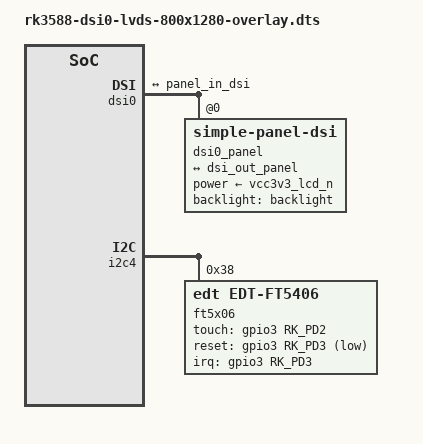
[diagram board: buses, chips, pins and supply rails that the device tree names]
/dts-v1/;
/plugin/;

#include <dt-bindings/gpio/gpio.h>
#include <dt-bindings/pinctrl/rockchip.h>
#include <dt-bindings/display/drm_mipi_dsi.h>
#include <dt-bindings/interrupt-controller/irq.h>

/ {
	fragment@0 {
		target = <&dsi0>;
		__overlay__ {
			status = "okay";
			//rockchip,lane-rate = <1000>;
			dsi0_panel: panel@0 {
				status = "okay";
				compatible = "simple-panel-dsi";
				reg = <0>;
				power-supply = <&vcc3v3_lcd_n>;
				backlight = <&backlight>;
				reset-delay-ms = <10>;
				enable-delay-ms = <35>;
				prepare-delay-ms = <6>;
				unprepare-delay-ms = <0>;
				disable-delay-ms = <20>;
				dsi,flags = <(MIPI_DSI_MODE_VIDEO | MIPI_DSI_MODE_VIDEO_BURST | MIPI_DSI_MODE_LPM | MIPI_DSI_MODE_EOT_PACKET)>;
				dsi,format = <MIPI_DSI_FMT_RGB888>;
				dsi,lanes  = <4>;
				dsi,channel = <0>;
				size,width = <120>;
				size,height = <170>;

                panel-init-sequence = [
                    29 02 06 3C 01 09 00 07 00                      
                    29 02 06 14 01 06 00 00 00                      
                    29 02 06 64 01 0B 00 00 00                      
                    29 02 06 68 01 0B 00 00 00                      
                    29 02 06 6C 01 0B 00 00 00                      
                    29 02 06 70 01 0B 00 00 00                      
                    29 02 06 34 01 1F 00 00 00                      
                    29 02 06 10 02 1F 00 00 00                      
                    29 02 06 04 01 01 00 00 00                      
                    29 02 06 04 02 01 00 00 00                      
                    29 02 06 50 04 20 01 F0 03                      
                    29 02 06 54 04 19 00 5A 00                       //5A
                    29 02 06 58 04 20 03 24 00                      
                    29 02 06 5C 04 0A 00 19 00                      
                    29 02 06 60 04 00 05 0A 00                      
                    29 02 06 64 04 01 00 00 00                      
                    29 02 06 A0 04 06 80 44 00
                    29 02 06 A0 04 06 80 04 00
                    29 02 06 04 05 04 00 00 00                      
#if 1   /* three channel */
                    29 02 06 80 04 02 03 04 05     /* three channel */
                    29 02 06 84 04 06 07 07 0A                      
                    29 02 06 88 04 0B 0C 0E 0F                      
                    29 02 06 8C 04 0D 0E 0F 12                      
                    29 02 06 90 04 16 17 13 14                      
                    29 02 06 94 04 15 16 17 1B                      
                    29 02 06 98 04 18 19 1A 06                      
#else   /* four channel */
                    29 02 06 80 04 00 01 02 03     /* four channel */
                    29 02 06 84 04 04 07 05 08
                    29 02 06 88 04 09 0A 0E 0F
                    29 02 06 8C 04 0B 0C 0D 10
                    29 02 06 90 04 16 17 11 12
                    29 02 06 94 04 13 14 15 1B
                    29 02 06 98 04 18 19 1A 06
#endif
                    /*
                    29 02 06 80 04 1A 1A 1A 1A                                          
                    29 02 06 84 04 1A 19 1A 1A                                           
                    29 02 06 88 04 18 18 19 19                                             
                    29 02 06 8C 04 18 18 18 18                                             
                    29 02 06 90 04 19 19 18 12                                             
                    29 02 06 94 04 13 14 15 19                                             
                    29 02 06 98 04 18 19 1A 19
                    */
                    29 02 06 9C 04 31 04 00 00
                ];

				panel-exit-sequence = [
					05 05 01 28
					05 78 01 10
				];

				ports {
					#address-cells = <1>;
					#size-cells = <0>;

					port@0 {
						reg = <0>;
						panel_in_dsi: endpoint {
							remote-endpoint = <&dsi_out_panel>;
						};
					};
				};
			};

			ports {
				#address-cells = <1>;
				#size-cells = <0>;

				port@1 {
					reg = <1>;
					dsi_out_panel: endpoint {
						remote-endpoint = <&panel_in_dsi>;
					};
				};
			};
		};
	};

	fragment@1 {
		target = <&i2c4>;
		__overlay__ {
			status = "okay";
			pinctrl-0 = <&i2c4m3_xfer>;

			ft5x06@38 {
				status = "okay";
				compatible = "edt,edt-ft5406";
				reg = <0x38>;
				touch-gpio = <&gpio3 RK_PD2 IRQ_TYPE_EDGE_RISING>;
				interrupt-parent = <&gpio3>;
				interrupts = <RK_PD3 IRQ_TYPE_LEVEL_LOW>;
				reset-gpios = <&gpio3 RK_PD3 GPIO_ACTIVE_LOW>;
				touchscreen-size-x = <800>;
				touchscreen-size-y = <1280>;
			};
		};
	};
};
